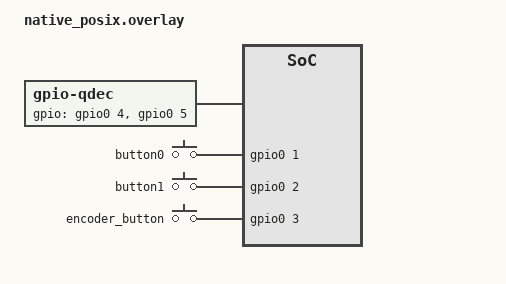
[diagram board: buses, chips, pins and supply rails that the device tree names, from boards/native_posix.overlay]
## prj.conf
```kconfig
CONFIG_LV_Z_MEM_POOL_SIZE=16384
CONFIG_LV_Z_SHELL=y
CONFIG_MAIN_STACK_SIZE=2048

CONFIG_DISPLAY=y
CONFIG_DISPLAY_LOG_LEVEL_ERR=y

CONFIG_LOG=y
CONFIG_SHELL=y

CONFIG_LVGL=y
CONFIG_LV_MEM_CUSTOM=y
CONFIG_LV_USE_LOG=y
CONFIG_LV_USE_LABEL=y
CONFIG_LV_USE_BTN=y
CONFIG_LV_USE_ARC=y
CONFIG_LV_USE_IMG=y
CONFIG_LV_USE_MONKEY=y
CONFIG_LV_FONT_MONTSERRAT_14=y
CONFIG_LV_COLOR_SCREEN_TRANSP=y
```

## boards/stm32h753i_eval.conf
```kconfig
CONFIG_MEMC=y
CONFIG_INPUT=y

CONFIG_LV_Z_VDB_SIZE=100
CONFIG_LV_Z_DOUBLE_VDB=y
CONFIG_LV_Z_FULL_REFRESH=y
CONFIG_LV_Z_FLUSH_THREAD=y
CONFIG_LV_Z_BITS_PER_PIXEL=16
CONFIG_LV_Z_VBD_CUSTOM_SECTION=y
```

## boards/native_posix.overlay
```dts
/*
 * Copyright (c) 2022, Basalte bv
 *
 * SPDX-License-Identifier: Apache-2.0
 */

#include <zephyr/dt-bindings/input/input-event-codes.h>

/ {
	aliases {
		sw0 = &button0;
	};

	qdec {
		compatible = "gpio-qdec";
		gpios = <&gpio0 4 GPIO_ACTIVE_HIGH>, <&gpio0 5 GPIO_ACTIVE_HIGH>;
		steps-per-period = <4>;
		zephyr,axis = <INPUT_REL_WHEEL>;
		sample-time-us = <2000>;
		idle-timeout-ms = <200>;
	};

	keys: keys {
		compatible = "gpio-keys";
		button0: button0 {
			/* gpio0 pin 0 is already aliased to led0 */
			gpios = <&gpio0 1 GPIO_ACTIVE_HIGH>;
			zephyr,code = <INPUT_KEY_0>;
		};

		button1: button1 {
			gpios = <&gpio0 2 GPIO_ACTIVE_HIGH>;
			zephyr,code = <INPUT_KEY_1>;
		};

		encoder_button: encoder_button {
			gpios = <&gpio0 3 GPIO_ACTIVE_HIGH>;
			zephyr,code = <INPUT_KEY_ENTER>;
		};
	};

	lvgl_button_input {
		compatible = "zephyr,lvgl-button-input";
		input = <&keys>;
		input-codes = <INPUT_KEY_1>;
		coordinates = <160 120>;
	};

	lvgl_encoder_input {
		compatible = "zephyr,lvgl-encoder-input";
		rotation-input-code = <INPUT_REL_WHEEL>;
		button-input-code = <INPUT_KEY_ENTER>;
	};
};

&gpio0 {
	ngpios = <6>;

	sdl_gpio {
		status = "okay";
		compatible = "zephyr,gpio-emul-sdl";
		/* Skip pin 0 with the unknown code 0 */
		scancodes = <0 21 5 30 31 32>;
	};
};

&sdl_dc {
	width = <640>;
	height = <480>;
};
```

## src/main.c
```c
/*
 * Copyright (c) 2018 Jan Van Winkel <jan.van_winkel@dxplore.eu>
 *
 * SPDX-License-Identifier: Apache-2.0
 */

#include <zephyr/device.h>
#include <zephyr/devicetree.h>
#include <zephyr/drivers/display.h>
#include <zephyr/drivers/gpio.h>
#include <lvgl.h>
#include <stdio.h>
#include <string.h>
#include <zephyr/kernel.h>
#include <lvgl_input_device.h>

#define LOG_LEVEL CONFIG_LOG_DEFAULT_LEVEL

#include <zephyr/logging/log.h>

LOG_MODULE_REGISTER(app);

void lv_example_arc_1(void);
void lv_example_dropdown_2(void);
void lv_example_slider_1(void);
void lv_example_table_1(void);
void lv_example_anim_2(void);

int main(void) {
	const struct device *display_dev = DEVICE_DT_GET(DT_CHOSEN(zephyr_display));

	if (!device_is_ready(display_dev)) {
		LOG_ERR("Device not ready, aborting test");
		return 0;
	}

	//lv_example_arc_1();
	lv_example_anim_2();
	lv_example_dropdown_2();
	lv_example_slider_1();
	lv_example_table_1();

	lv_task_handler();
	display_blanking_off(display_dev);

	while (1) {
		lv_task_handler();
		k_sleep(K_MSEC(10));
	}
}

static void value_changed_event_cb(lv_event_t * e);

void lv_example_arc_1(void)
{
	lv_obj_t * label = lv_label_create(lv_scr_act());

	/*Create an Arc*/
	lv_obj_t * arc = lv_arc_create(lv_scr_act());
	lv_obj_set_size(arc, 150, 150);
	lv_arc_set_rotation(arc, 135);
	lv_arc_set_bg_angles(arc, 0, 270);
	lv_arc_set_value(arc, 10);
	lv_obj_align(arc, LV_ALIGN_CENTER, 0, -50);
	lv_obj_add_event_cb(arc, value_changed_event_cb, LV_EVENT_VALUE_CHANGED, label);

	/*Manually update the label for the first time*/
	lv_event_send(arc, LV_EVENT_VALUE_CHANGED, NULL);
}

/**
 * Create a drop down, up, left and right menus
 */
void lv_example_dropdown_2(void)
{
	static const char * opts = "Apple\n"
							   "Banana\n"
							   "Orange\n"
							   "Melon";

	lv_obj_t * dd;
	dd = lv_dropdown_create(lv_scr_act());
	lv_dropdown_set_options_static(dd, opts);
	lv_obj_align(dd, LV_ALIGN_TOP_MID, 0, 10);

	dd = lv_dropdown_create(lv_scr_act());
	lv_dropdown_set_options_static(dd, opts);
	lv_dropdown_set_dir(dd, LV_DIR_BOTTOM);
	lv_dropdown_set_symbol(dd, LV_SYMBOL_UP);
	lv_obj_align(dd, LV_ALIGN_BOTTOM_MID, 0, -10);

	dd = lv_dropdown_create(lv_scr_act());
	lv_dropdown_set_options_static(dd, opts);
	lv_dropdown_set_dir(dd, LV_DIR_RIGHT);
	lv_dropdown_set_symbol(dd, LV_SYMBOL_RIGHT);
	lv_obj_align(dd, LV_ALIGN_LEFT_MID, 10, 0);

	dd = lv_dropdown_create(lv_scr_act());
	lv_dropdown_set_options_static(dd, opts);
	lv_dropdown_set_dir(dd, LV_DIR_LEFT);
	lv_dropdown_set_symbol(dd, LV_SYMBOL_LEFT);
	lv_obj_align(dd, LV_ALIGN_RIGHT_MID, -10, 0);
}

static void value_changed_event_cb(lv_event_t * e)
{
	LOG_INF("callback");

	lv_obj_t * arc = lv_event_get_target(e);
	lv_obj_t * label = lv_event_get_user_data(e);

	lv_label_set_text_fmt(label, "%d%%", lv_arc_get_value(arc));

	/*Rotate the label to the current position of the arc*/
	lv_arc_rotate_obj_to_angle(arc, label, 25);
}

static void slider_event_cb(lv_event_t * e);
static lv_obj_t * slider_label;

/**
 * A default slider with a label displaying the current value
 */
void lv_example_slider_1(void)
{
	/*Create a slider in the center of the display*/
	lv_obj_t * slider = lv_slider_create(lv_scr_act());
	lv_obj_align(slider, LV_ALIGN_CENTER, 0, 100);
	lv_obj_add_event_cb(slider, slider_event_cb, LV_EVENT_VALUE_CHANGED, NULL);

	/*Create a label below the slider*/
	slider_label = lv_label_create(lv_scr_act());
	lv_label_set_text(slider_label, "0%");

	lv_obj_align_to(slider_label, slider, LV_ALIGN_OUT_BOTTOM_MID, 0, 10);
}

static void slider_event_cb(lv_event_t * e)
{
	lv_obj_t * slider = lv_event_get_target(e);
	char buf[8];
	lv_snprintf(buf, sizeof(buf), "%d%%", (int)lv_slider_get_value(slider));
	lv_label_set_text(slider_label, buf);
	lv_obj_align_to(slider_label, slider, LV_ALIGN_OUT_BOTTOM_MID, 0, 10);
}

static void draw_part_event_cb(lv_event_t * e)
{
	lv_obj_t * obj = lv_event_get_target(e);
	lv_obj_draw_part_dsc_t * dsc = lv_event_get_draw_part_dsc(e);
	/*If the cells are drawn...*/
	if(dsc->part == LV_PART_ITEMS) {
		uint32_t row = dsc->id /  lv_table_get_col_cnt(obj);
		uint32_t col = dsc->id - row * lv_table_get_col_cnt(obj);

		/*Make the texts in the first cell center aligned*/
		if(row == 0) {
			dsc->label_dsc->align = LV_TEXT_ALIGN_CENTER;
			dsc->rect_dsc->bg_color = lv_color_mix(lv_palette_main(LV_PALETTE_BLUE), dsc->rect_dsc->bg_color, LV_OPA_20);
			dsc->rect_dsc->bg_opa = LV_OPA_COVER;
		}
			/*In the first column align the texts to the right*/
		else if(col == 0) {
			dsc->label_dsc->align = LV_TEXT_ALIGN_RIGHT;
		}

		/*MAke every 2nd row grayish*/
		if((row != 0 && row % 2) == 0) {
			dsc->rect_dsc->bg_color = lv_color_mix(lv_palette_main(LV_PALETTE_GREY), dsc->rect_dsc->bg_color, LV_OPA_10);
			dsc->rect_dsc->bg_opa = LV_OPA_COVER;
		}
	}
}

void lv_example_table_1(void)
{
	lv_obj_t * table = lv_table_create(lv_scr_act());

	/*Fill the first column*/
	lv_table_set_cell_value(table, 0, 0, "Name");
	lv_table_set_cell_value(table, 1, 0, "Apple");
	lv_table_set_cell_value(table, 2, 0, "Banana");
	lv_table_set_cell_value(table, 3, 0, "Lemon");
	lv_table_set_cell_value(table, 4, 0, "Grape");
	lv_table_set_cell_value(table, 5, 0, "Melon");
	lv_table_set_cell_value(table, 6, 0, "Peach");
	lv_table_set_cell_value(table, 7, 0, "Nuts");

	/*Fill the second column*/
	lv_table_set_cell_value(table, 0, 1, "Price");
	lv_table_set_cell_value(table, 1, 1, "$7");
	lv_table_set_cell_value(table, 2, 1, "$4");
	lv_table_set_cell_value(table, 3, 1, "$6");
	lv_table_set_cell_value(table, 4, 1, "$2");
	lv_table_set_cell_value(table, 5, 1, "$5");
	lv_table_set_cell_value(table, 6, 1, "$1");
	lv_table_set_cell_value(table, 7, 1, "$9");

	/*Set a smaller height to the table. It'll make it scrollable*/
	lv_obj_set_height(table, 200);
	lv_obj_align(table, LV_ALIGN_CENTER, 0, -50);

	/*Add an event callback to to apply some custom drawing*/
	lv_obj_add_event_cb(table, draw_part_event_cb, LV_EVENT_DRAW_PART_BEGIN, NULL);
}

static void anim_x_cb(void * var, int32_t v)
{
	lv_obj_set_x(var, v);
}

static void anim_size_cb(void * var, int32_t v)
{
	lv_obj_set_size(var, v, v);
}

/**
 * Create a playback animation
 */
void lv_example_anim_2(void)
{

	lv_obj_t * obj = lv_obj_create(lv_scr_act());
	lv_obj_set_style_bg_color(obj, lv_palette_main(LV_PALETTE_RED), 0);
	lv_obj_set_style_radius(obj, LV_RADIUS_CIRCLE, 0);

	lv_obj_align(obj, LV_ALIGN_CENTER, -120, 150);

	lv_anim_t a;
	lv_anim_init(&a);
	lv_anim_set_var(&a, obj);
	lv_anim_set_values(&a, 10, 50);
	lv_anim_set_time(&a, 1000);
	lv_anim_set_playback_delay(&a, 100);
	lv_anim_set_playback_time(&a, 300);
	lv_anim_set_repeat_delay(&a, 0);
	lv_anim_set_repeat_count(&a, LV_ANIM_REPEAT_INFINITE);
	lv_anim_set_path_cb(&a, lv_anim_path_ease_in_out);

	lv_anim_set_exec_cb(&a, anim_size_cb);
	lv_anim_start(&a);
	lv_anim_set_exec_cb(&a, anim_x_cb);
	lv_anim_set_values(&a, 10, 240);
	lv_anim_start(&a);
}
```
